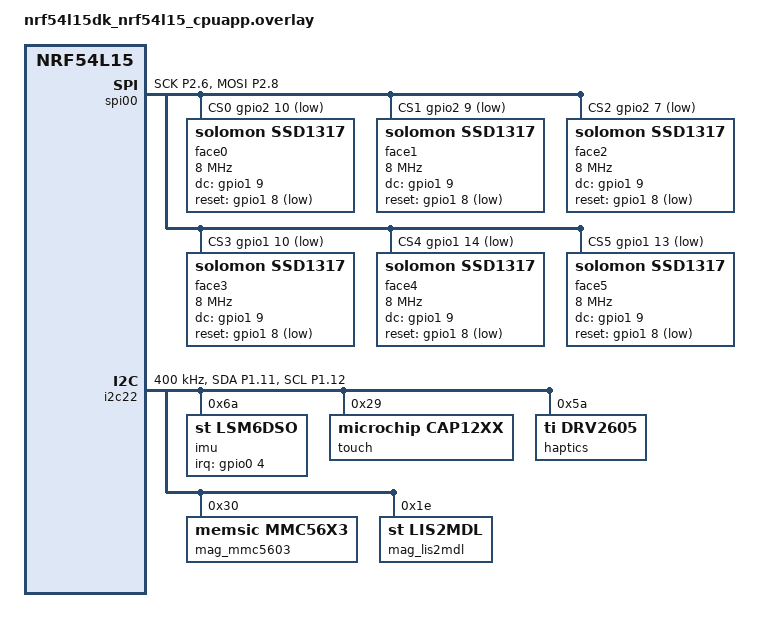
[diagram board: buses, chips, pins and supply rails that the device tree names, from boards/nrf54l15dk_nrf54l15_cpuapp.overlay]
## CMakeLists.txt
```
# Zephyr application for the Sugarcube nRF54L15 board. The firmware is Rust:
# this builds it as a static library (packages/firmware/zephyr/rust) with
# cargo and links it into the app.
cmake_minimum_required(VERSION 3.20.0)
find_package(Zephyr REQUIRED HINTS $ENV{ZEPHYR_BASE})
project(smokebomb)

target_sources(app PRIVATE src/main.c src/shim.c src/board.c)

set(SMOKEBOMB_ROOT ${CMAKE_CURRENT_SOURCE_DIR}/../../..)
set(SMOKEBOMB_RUST_TARGET thumbv8m.main-none-eabihf)
set(SMOKEBOMB_RUST_LIB
    ${SMOKEBOMB_ROOT}/target/${SMOKEBOMB_RUST_TARGET}/firmware/libsmokebomb_zephyr.a)
if(CONFIG_SMOKEBOMB_BENCH)
  set(SMOKEBOMB_RUST_FEATURES --features bench)
elseif(CONFIG_SMOKEBOMB_BRINGUP)
  set(SMOKEBOMB_RUST_FEATURES --features bringup)
endif()

# Cargo decides what needs rebuilding, so run it on every build.
add_custom_target(smokebomb_rust
  COMMAND cargo build -p smokebomb-zephyr
          --target ${SMOKEBOMB_RUST_TARGET} --profile firmware
          ${SMOKEBOMB_RUST_FEATURES}
  WORKING_DIRECTORY ${SMOKEBOMB_ROOT}
  BYPRODUCTS ${SMOKEBOMB_RUST_LIB}
  USES_TERMINAL
)
add_library(smokebomb_rust_lib STATIC IMPORTED GLOBAL)
set_target_properties(smokebomb_rust_lib PROPERTIES IMPORTED_LOCATION ${SMOKEBOMB_RUST_LIB})
add_dependencies(app smokebomb_rust)
target_link_libraries(app PRIVATE smokebomb_rust_lib)
```

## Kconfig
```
# Options of the Smokebomb Zephyr app.

config SMOKEBOMB_BENCH
	bool "Run the frame benchmark instead of the firmware"
	help
	  Build the image as the frame benchmark: it times a frame's heaviest
	  work (sugar, pigs, dithering) on the board, prints the results and
	  stops. It needs no drivers. Turned on by bench.conf.

config SMOKEBOMB_BRINGUP
	bool "Run the bench bring-up instead of the firmware"
	depends on !SMOKEBOMB_BENCH
	help
	  Build the image that checks the bench's wiring: it lists what
	  answers on the I2C bus, cycles test patterns across the panels one
	  at a time, and streams the IMU and touch readings to the console.
	  Turned on by bringup.conf.

source "Kconfig.zephyr"
```

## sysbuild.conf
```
# MCUboot, for firmware updates. Where updates are staged (the second slot
# in internal flash, or in the external QSPI flash) is still to decide: it
# sets how much flash the app gets. This is NCS's default, internal.
SB_CONFIG_BOOTLOADER_MCUBOOT=y
```

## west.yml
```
# nRF Connect SDK manifest. Pin the SDK revision the firmware is tested against.
manifest:
  remotes:
    - name: ncs
      url-base: https://github.com/nrfconnect
  projects:
    - name: sdk-nrf
      remote: ncs
      path: nrf
      revision: v3.1.0
      import: true
  self:
    path: smokebomb
```

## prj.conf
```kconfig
# Core
CONFIG_MAIN_STACK_SIZE=8192
CONFIG_HEAP_MEM_POOL_SIZE=16384
# The Rust firmware is built for thumbv8m.main-none-eabihf: floats in FPU
# registers, so the C side must use the same (hard-float) ABI.
CONFIG_FPU=y
CONFIG_FP_HARDABI=y

# Peripherals
CONFIG_SPI=y
CONFIG_I2C=y
CONFIG_SENSOR=y
# Touch (the CAP1188, through Zephyr's CAP12xx input driver) and haptics
# (the DRV2605L).
CONFIG_INPUT=y
CONFIG_HAPTICS=y
CONFIG_FLASH=y
CONFIG_NFC_T2T_NRFXLIB=y
CONFIG_ENTROPY_GENERATOR=y

# BLE peripheral (DFU: MCUboot is turned on in sysbuild.conf)
CONFIG_BT=y
CONFIG_BT_PERIPHERAL=y
CONFIG_BT_DEVICE_NAME="Sugarcube"
CONFIG_BT_SMP=y
```

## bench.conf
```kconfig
# The frame benchmark instead of the firmware:
#   west build -b nrf54l15dk/nrf54l15/cpuapp packages/firmware/zephyr -- -DEXTRA_CONF_FILE=bench.conf
CONFIG_SMOKEBOMB_BENCH=y
```

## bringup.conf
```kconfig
# The bench bring-up instead of the firmware: what answers on the I2C bus,
# test patterns on each panel in turn, and the IMU and touch readings.
#   west build -b nrf54l15dk/nrf54l15/cpuapp packages/firmware/zephyr -- -DEXTRA_CONF_FILE=bringup.conf
CONFIG_SMOKEBOMB_BRINGUP=y
# Say why a driver didn't come up.
CONFIG_LOG=y
```

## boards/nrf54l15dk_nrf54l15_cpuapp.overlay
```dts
/*
 * The bench: an nRF54L15 DK wired to six SSD1317 panels and the STEMMA QT
 * chain of breakouts. The pin map, and why each pin, is in
 * packages/firmware/zephyr/BENCH.md; keep the two in step.
 *
 *   Panels  SPIM00  SCK P2.06  MOSI P2.08  D/C P1.09  RESET P1.08
 *                   CS +X P2.10  -X P2.09  +Y P2.07  -Y P1.10  +Z P1.14  -Z P1.13
 *   STEMMA  TWIM22  SDA P1.11  SCL P1.12
 *   IMU INT1        P0.04
 *
 * The CS, D/C and reset lines take over the DK's LEDs and buttons 0-2:
 * those nodes are deleted so nothing else drives them. Don't press buttons
 * 0-2 while the panels run.
 */

#include <zephyr/dt-bindings/input/input-event-codes.h>
#include <zephyr/dt-bindings/sensor/lsm6dso.h>

/ {
	aliases {
		/delete-property/ led0;
		/delete-property/ led1;
		/delete-property/ led2;
		/delete-property/ led3;
		/delete-property/ pwm-led0;
		/delete-property/ sw0;
		/delete-property/ sw1;
		/delete-property/ sw2;
		/delete-property/ sw3;
		/delete-property/ mcuboot-button0;
		/delete-property/ mcuboot-led0;
	};
};

/delete-node/ &led0;	/* P2.09: CS -X */
/delete-node/ &led1;	/* P1.10: CS -Y */
/delete-node/ &led2;	/* P2.07: CS +Y */
/delete-node/ &led3;	/* P1.14: CS +Z */
/delete-node/ &pwm_led1;	/* PWM on P1.10 */
/delete-node/ &button0;	/* P1.13: CS -Z */
/delete-node/ &button1;	/* P1.09: D/C */
/delete-node/ &button2;	/* P1.08: RESET */
/delete-node/ &button3;	/* P0.04: IMU INT1 */

&pwm20 {
	status = "disabled";
};

&pinctrl {
	/* SPIM00 is the only SPIM that runs past 8 MHz (to 32). Its clock and
	 * data pins are on P2, the MCU domain's port, at extra-high drive. The
	 * panels only listen: no MISO.
	 */
	spi00_panels_default: spi00_panels_default {
		group1 {
			psels = <NRF_PSEL(SPIM_SCK, 2, 6)>,
				<NRF_PSEL(SPIM_MOSI, 2, 8)>;
			nordic,drive-mode = <NRF_DRIVE_E0E1>;
		};
	};

	spi00_panels_sleep: spi00_panels_sleep {
		group1 {
			psels = <NRF_PSEL(SPIM_SCK, 2, 6)>,
				<NRF_PSEL(SPIM_MOSI, 2, 8)>;
			low-power-enable;
		};
	};

	i2c22_default: i2c22_default {
		group1 {
			psels = <NRF_PSEL(TWIM_SDA, 1, 11)>,
				<NRF_PSEL(TWIM_SCL, 1, 12)>;
		};
	};

	i2c22_sleep: i2c22_sleep {
		group1 {
			psels = <NRF_PSEL(TWIM_SDA, 1, 11)>,
				<NRF_PSEL(TWIM_SCL, 1, 12)>;
			low-power-enable;
		};
	};
};

/* The DK's own flash sits on SPIM00's default pins. The panels take SPIM00
 * on other pins, so the flash isn't reachable in this build.
 */
/delete-node/ &mx25r64;

&spi00 {
	status = "okay";
	pinctrl-0 = <&spi00_panels_default>;
	pinctrl-1 = <&spi00_panels_sleep>;
	pinctrl-names = "default", "sleep";
	cs-gpios = <&gpio2 10 GPIO_ACTIVE_LOW>,	/* +X */
		   <&gpio2 9 GPIO_ACTIVE_LOW>,	/* -X */
		   <&gpio2 7 GPIO_ACTIVE_LOW>,	/* +Y */
		   <&gpio1 10 GPIO_ACTIVE_LOW>,	/* -Y */
		   <&gpio1 14 GPIO_ACTIVE_LOW>,	/* +Z */
		   <&gpio1 13 GPIO_ACTIVE_LOW>;	/* -Z */

	/* faceN is Face index N (PosX, NegX, PosY, NegY, PosZ, NegZ). The
	 * SSD1317's serial clock cycle is 100 ns at the least: 8 MHz is the
	 * rate u8g2 drives it at.
	 */
	face0: panel@0 {
		compatible = "solomon,ssd1317";
		reg = <0>;
		spi-max-frequency = <DT_FREQ_M(8)>;
		dc-gpios = <&gpio1 9 GPIO_ACTIVE_HIGH>;
		reset-gpios = <&gpio1 8 GPIO_ACTIVE_LOW>;
	};

	face1: panel@1 {
		compatible = "solomon,ssd1317";
		reg = <1>;
		spi-max-frequency = <DT_FREQ_M(8)>;
		dc-gpios = <&gpio1 9 GPIO_ACTIVE_HIGH>;
		reset-gpios = <&gpio1 8 GPIO_ACTIVE_LOW>;
	};

	face2: panel@2 {
		compatible = "solomon,ssd1317";
		reg = <2>;
		spi-max-frequency = <DT_FREQ_M(8)>;
		dc-gpios = <&gpio1 9 GPIO_ACTIVE_HIGH>;
		reset-gpios = <&gpio1 8 GPIO_ACTIVE_LOW>;
	};

	face3: panel@3 {
		compatible = "solomon,ssd1317";
		reg = <3>;
		spi-max-frequency = <DT_FREQ_M(8)>;
		dc-gpios = <&gpio1 9 GPIO_ACTIVE_HIGH>;
		reset-gpios = <&gpio1 8 GPIO_ACTIVE_LOW>;
	};

	face4: panel@4 {
		compatible = "solomon,ssd1317";
		reg = <4>;
		spi-max-frequency = <DT_FREQ_M(8)>;
		dc-gpios = <&gpio1 9 GPIO_ACTIVE_HIGH>;
		reset-gpios = <&gpio1 8 GPIO_ACTIVE_LOW>;
	};

	face5: panel@5 {
		compatible = "solomon,ssd1317";
		reg = <5>;
		spi-max-frequency = <DT_FREQ_M(8)>;
		dc-gpios = <&gpio1 9 GPIO_ACTIVE_HIGH>;
		reset-gpios = <&gpio1 8 GPIO_ACTIVE_LOW>;
	};
};

/* The STEMMA QT chain. The breakouts carry their own pull-ups. Each node is
 * the part's default address on its Adafruit board; a driver whose part
 * isn't on the chain fails its init and the rest carry on, so both
 * magnetometer candidates are listed.
 */
&i2c22 {
	status = "okay";
	clock-frequency = <I2C_BITRATE_FAST>;
	pinctrl-0 = <&i2c22_default>;
	pinctrl-1 = <&i2c22_sleep>;
	pinctrl-names = "default", "sleep";

	/* LSM6DSOX: Zephyr's LSM6DSO driver (same registers, WHO_AM_I 0x6C). */
	imu: lsm6dsox@6a {
		compatible = "st,lsm6dso";
		reg = <0x6a>;
		irq-gpios = <&gpio0 4 GPIO_ACTIVE_HIGH>;
		int-pin = <1>;
		accel-range = <LSM6DSO_DT_FS_16G>;
		accel-odr = <LSM6DSO_DT_ODR_208Hz>;
		gyro-range = <LSM6DSO_DT_FS_2000DPS>;
		gyro-odr = <LSM6DSO_DT_ODR_208Hz>;
	};

	/* CAP1188: Zephyr's CAP12xx input driver, polled; pads 1-6 are the
	 * faces in Face order, reported as keys 0-5.
	 */
	touch: cap1188@29 {
		compatible = "microchip,cap12xx";
		reg = <0x29>;
		input-codes = <INPUT_KEY_0 INPUT_KEY_1 INPUT_KEY_2
			       INPUT_KEY_3 INPUT_KEY_4 INPUT_KEY_5>;
		signal-guard = <0 0 0 0 0 0>;
		calib-sensitivity = <1 1 1 1 1 1>;
	};

	haptics: drv2605l@5a {
		compatible = "ti,drv2605";
		reg = <0x5a>;
		actuator-mode = "LRA";
	};

	mag_mmc5603: mmc5603@30 {
		compatible = "memsic,mmc56x3";
		reg = <0x30>;
		/* One-shot: the firmware measures with the panel supply paused.
		 * Zephyr's driver needs it set even though the binding doesn't.
		 */
		magn-odr = <0>;
	};

	mag_lis2mdl: lis2mdl@1e {
		compatible = "st,lis2mdl";
		reg = <0x1e>;
		single-mode;
	};
};
```

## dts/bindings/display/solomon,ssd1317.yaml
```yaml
# One face's SSD1317 OLED panel. The Rust firmware drives it
# (packages/firmware/hal/nrf54l15/src/ssd1317.rs) through the app's shim;
# there is no Zephyr display driver for it. The six faces share the bus,
# D/C and reset, so each node names the same D/C and reset pins.

description: Solomon SSD1317 OLED controller, one panel on a shared SPI bus

compatible: "solomon,ssd1317"

include: spi-device.yaml

properties:
  dc-gpios:
    type: phandle-array
    required: true
    description: Data/command line, shared by every face. High for display RAM.

  reset-gpios:
    type: phandle-array
    description: Reset line, shared by every face. Active low.
```

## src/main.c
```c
/*
 * Zephyr entry point. All application logic lives in Rust (the static
 * library built from packages/firmware/zephyr/rust); see
 * packages/firmware/src/lib.rs (smokebomb_main).
 */
#include <zephyr/kernel.h>
#include <zephyr/sys/printk.h>

#ifdef CONFIG_SMOKEBOMB_BENCH
extern void smokebomb_bench(void);

int main(void)
{
	smokebomb_bench();
	return 0;
}
#elif defined(CONFIG_SMOKEBOMB_BRINGUP)
extern void smokebomb_bringup(void);

int main(void)
{
	smokebomb_bringup();
	return 0;
}
#else
extern int smokebomb_main(void);

int main(void)
{
	int err = smokebomb_main();

	printk("smokebomb_main returned %d\n", err);
	return err;
}
#endif
```

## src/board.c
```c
/*
 * The board's devices, as plain functions for the Rust HAL
 * (packages/firmware/hal/nrf54l15). Each part is found by its devicetree
 * label (the overlays in boards/); on a board without it, its functions
 * fail with -ENODEV so the firmware still links and says what's missing.
 *
 * Every function returns 0 or a negative errno.
 */
#include <stdbool.h>
#include <stddef.h>
#include <stdint.h>

#include <errno.h>

#include <zephyr/device.h>
#include <zephyr/devicetree.h>
#include <zephyr/drivers/gpio.h>
#include <zephyr/drivers/haptics.h>
#include <zephyr/drivers/haptics/drv2605.h>
#include <zephyr/drivers/i2c.h>
#include <zephyr/drivers/sensor.h>
#include <zephyr/drivers/spi.h>
#include <zephyr/input/input.h>
#include <zephyr/sys/atomic.h>
#include <zephyr/sys/util.h>

/* Panels: six SSD1317s on one SPI bus, faceN for Face index N. */

#define FACE(n) DT_NODELABEL(face##n)

#if DT_NODE_HAS_STATUS_OKAY(FACE(0))
#define PANEL_SPI(n) SPI_DT_SPEC_GET(FACE(n), SPI_WORD_SET(8) | SPI_TRANSFER_MSB, 0)

static const struct spi_dt_spec panels[] = {
	PANEL_SPI(0), PANEL_SPI(1), PANEL_SPI(2), PANEL_SPI(3), PANEL_SPI(4), PANEL_SPI(5),
};
static const struct gpio_dt_spec panel_dc = GPIO_DT_SPEC_GET(FACE(0), dc_gpios);
static const struct gpio_dt_spec panel_reset = GPIO_DT_SPEC_GET(FACE(0), reset_gpios);

int sb_panel_setup(void)
{
	for (size_t i = 0; i < ARRAY_SIZE(panels); i++) {
		if (!spi_is_ready_dt(&panels[i])) {
			return -ENODEV;
		}
	}
	if (!gpio_is_ready_dt(&panel_dc) || !gpio_is_ready_dt(&panel_reset)) {
		return -ENODEV;
	}
	int err = gpio_pin_configure_dt(&panel_dc, GPIO_OUTPUT_INACTIVE);

	if (err) {
		return err;
	}
	return gpio_pin_configure_dt(&panel_reset, GPIO_OUTPUT_INACTIVE);
}

int sb_panel_write(uint8_t face, bool data, const uint8_t *buf, size_t len)
{
	if (face >= ARRAY_SIZE(panels)) {
		return -EINVAL;
	}
	int err = gpio_pin_set_dt(&panel_dc, data);

	if (err) {
		return err;
	}
	const struct spi_buf tx = {.buf = (void *)buf, .len = len};
	const struct spi_buf_set set = {.buffers = &tx, .count = 1};

	return spi_write_dt(&panels[face], &set);
}

int sb_panel_reset(bool asserted)
{
	return gpio_pin_set_dt(&panel_reset, asserted);
}
#else
int sb_panel_setup(void)
{
	return -ENODEV;
}

int sb_panel_write(uint8_t face, bool data, const uint8_t *buf, size_t len)
{
	return -ENODEV;
}

int sb_panel_reset(bool asserted)
{
	return -ENODEV;
}
#endif

/* IMU: Zephyr's sensor API, in the units the HAL's ImuSample uses. */

#if DT_NODE_HAS_STATUS_OKAY(DT_NODELABEL(imu))
static const struct device *const imu = DEVICE_DT_GET(DT_NODELABEL(imu));

int sb_imu_read(int16_t accel_mg[3], int32_t gyro_mdps[3])
{
	struct sensor_value v[3];

	if (!device_is_ready(imu)) {
		return -ENODEV;
	}
	int err = sensor_sample_fetch(imu);

	if (!err) {
		err = sensor_channel_get(imu, SENSOR_CHAN_ACCEL_XYZ, v);
	}
	if (err) {
		return err;
	}
	for (int i = 0; i < 3; i++) {
		/* m/s² to milli-g */
		accel_mg[i] = (int16_t)(sensor_value_to_micro(&v[i]) / 9807);
	}
	err = sensor_channel_get(imu, SENSOR_CHAN_GYRO_XYZ, v);
	if (err) {
		return err;
	}
	for (int i = 0; i < 3; i++) {
		/* rad/s to milli-degrees a second: 1 rad = 57295.78 mdeg */
		gyro_mdps[i] = (int32_t)(sensor_value_to_micro(&v[i]) * 57296 / 1000000);
	}
	return 0;
}
#else
int sb_imu_read(int16_t accel_mg[3], int32_t gyro_mdps[3])
{
	return -ENODEV;
}
#endif

/* Touch: the CAP12xx input driver reports pad N as key N; keep a bitmask. */

static atomic_t touched;

#if DT_NODE_HAS_STATUS_OKAY(DT_NODELABEL(touch))
static const struct device *const touch = DEVICE_DT_GET(DT_NODELABEL(touch));

static void touch_event(struct input_event *evt, void *user_data)
{
	ARG_UNUSED(user_data);
	if (evt->type != INPUT_EV_KEY || evt->code < INPUT_KEY_0 || evt->code > INPUT_KEY_5) {
		return;
	}
	int bit = evt->code - INPUT_KEY_0;

	if (evt->value) {
		atomic_set_bit(&touched, bit);
	} else {
		atomic_clear_bit(&touched, bit);
	}
}
INPUT_CALLBACK_DEFINE(touch, touch_event, NULL);

int sb_touch_read(uint8_t *mask)
{
	if (!device_is_ready(touch)) {
		return -ENODEV;
	}
	*mask = (uint8_t)atomic_get(&touched);
	return 0;
}
#else
int sb_touch_read(uint8_t *mask)
{
	return -ENODEV;
}
#endif

/* Haptics: one effect from the DRV2605L's LRA library. */

#if DT_NODE_HAS_STATUS_OKAY(DT_NODELABEL(haptics))
static const struct device *const haptics = DEVICE_DT_GET(DT_NODELABEL(haptics));

int sb_haptics_play(uint8_t effect)
{
	struct drv2605_rom_data rom = {
		.trigger = DRV2605_MODE_INTERNAL_TRIGGER,
		.library = DRV2605_LIBRARY_LRA,
		.seq_regs = {effect},
	};
	union drv2605_config_data config = {.rom_data = &rom};

	if (!device_is_ready(haptics)) {
		return -ENODEV;
	}
	int err = drv2605_haptic_config(haptics, DRV2605_HAPTICS_SOURCE_ROM, &config);

	if (err) {
		return err;
	}
	return haptics_start_output(haptics);
}
#else
int sb_haptics_play(uint8_t effect)
{
	return -ENODEV;
}
#endif

/* The STEMMA chain, for the bring-up image: raw register access. */

#if DT_NODE_HAS_STATUS_OKAY(DT_NODELABEL(i2c22))
static const struct device *const stemma = DEVICE_DT_GET(DT_NODELABEL(i2c22));

/* Does anything answer at `addr`? A one-byte read, since the TWIM can't
 * send an empty write.
 */
int sb_i2c_probe(uint8_t addr)
{
	uint8_t b;

	if (!device_is_ready(stemma)) {
		return -ENODEV;
	}
	return i2c_read(stemma, &b, 1, addr);
}

int sb_i2c_reg_read(uint8_t addr, uint8_t reg, uint8_t *val)
{
	if (!device_is_ready(stemma)) {
		return -ENODEV;
	}
	return i2c_reg_read_byte(stemma, addr, reg, val);
}
#else
int sb_i2c_probe(uint8_t addr)
{
	return -ENODEV;
}

int sb_i2c_reg_read(uint8_t addr, uint8_t reg, uint8_t *val)
{
	return -ENODEV;
}
#endif

/* Which of the devicetree's devices came up. For the bring-up image. */

#define READY(label)                                                                               \
	COND_CODE_1(DT_NODE_HAS_STATUS_OKAY(DT_NODELABEL(label)),                                  \
		    (device_is_ready(DEVICE_DT_GET(DT_NODELABEL(label))) ? 1 : 0), (-1))

/* 1 ready, 0 failed its init, -1 not in this board's devicetree. */
int sb_device_ready(uint8_t which)
{
	switch (which) {
	case 0:
		return READY(imu);
	case 1:
		return READY(touch);
	case 2:
		return READY(haptics);
	case 3:
		return READY(mag_mmc5603);
	case 4:
		return READY(mag_lis2mdl);
	default:
		return -1;
	}
}
```

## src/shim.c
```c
/*
 * The few Zephyr calls the Rust firmware makes. Most of Zephyr's API is
 * inline functions and macros, which Rust can't call, so each is wrapped
 * here as a plain function.
 */
#include <stddef.h>
#include <stdint.h>

#include <errno.h>

#include <zephyr/kernel.h>
#include <zephyr/sys/printk.h>

uint64_t sb_uptime_us(void)
{
	return k_ticks_to_us_floor64(k_uptime_ticks());
}

void sb_sleep_us(uint32_t us)
{
	k_usleep((int32_t)us);
}

void sb_print(const char *s, size_t len)
{
	printk("%.*s", (int)len, s);
}

FUNC_NORETURN void sb_panic(void)
{
	k_panic();
	for (;;) {
	}
}

/*
 * Stands in for a driver the board HAL doesn't have yet: always fails. The
 * Rust side asks here rather than failing on its own so the compiler can't
 * drop the rest of the firmware as unreachable.
 */
int sb_hal_todo(void)
{
	return -ENOSYS;
}
```
